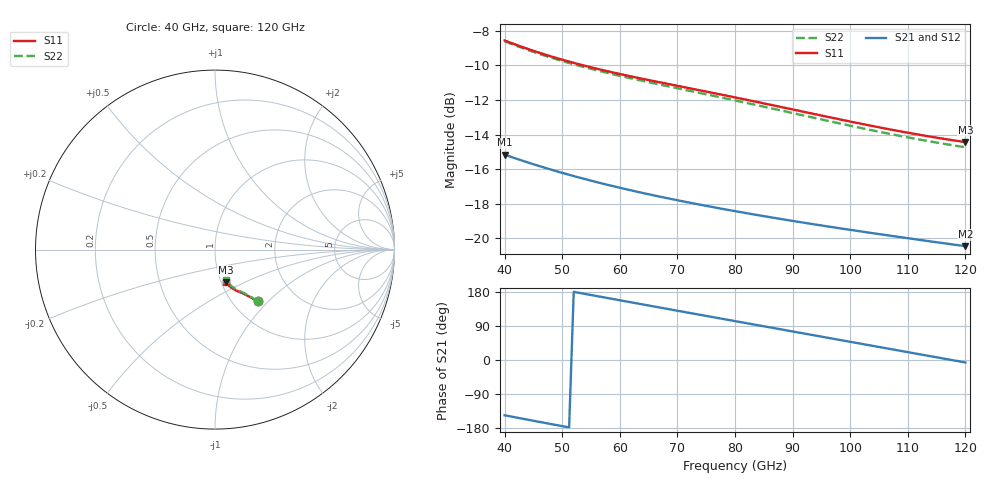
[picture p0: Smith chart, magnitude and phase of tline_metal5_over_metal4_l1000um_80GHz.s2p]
#  GHZ S DB R 50
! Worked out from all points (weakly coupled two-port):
!   101 points, 40 GHz to 120 GHz, reference 50 ohm
!   highest |S21| = -15.16 dB at 40 GHz (marker M1); lowest = -20.5 dB at 120 GHz (marker M2)
!   lowest |S11| = -14.4 dB at 120 GHz (marker M3), VSWR 1.47, Z = 52.6 - j19.7 ohm
!   |S11| at or under -10 dB: 53.73 GHz to end of sweep
!   |S22| runs from -14.7 to -8.6 dB; largest |S21 - S12| = 1.9e-13
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40  -8.55 -50.4  -15.16 -145.9  -15.16 -145.9  -8.60 -50.2
43.2  -8.95 -51.6  -15.53 -155.2  -15.53 -155.2  -9.00 -51.3
46.4  -9.30 -52.6  -15.86 -164.3  -15.86 -164.3  -9.37 -52.2
49.6  -9.63 -53.5  -16.18 -173.4  -16.18 -173.4  -9.70 -53.1
53.6  -9.99 -54.6  -16.55 175.4  -16.55 175.4  -10.08 -54.2
56.8  -10.25 -55.5  -16.82 166.5  -16.82 166.5  -10.35 -55.0
60.8  -10.55 -56.6  -17.14 155.4  -17.14 155.4  -10.66 -56.1
64  -10.78 -57.6  -17.38 146.6  -17.38 146.6  -10.90 -57.0
67.2  -10.99 -58.6  -17.61 137.8  -17.61 137.8  -11.12 -57.9
70.4  -11.21 -59.6  -17.83 129.0  -17.83 129.0  -11.35 -58.9
73.6  -11.42 -60.7  -18.04 120.2  -18.04 120.2  -11.57 -59.9
76.8  -11.63 -61.7  -18.24 111.4  -18.24 111.4  -11.80 -60.9
80  -11.85 -62.8  -18.43 102.7  -18.43 102.7  -12.02 -61.9
83.2  -12.07 -63.8  -18.62 93.9  -18.62 93.9  -12.26 -62.9
86.4  -12.29 -64.8  -18.80 85.1  -18.80 85.1  -12.49 -63.8
89.6  -12.52 -65.8  -18.98 76.4  -18.98 76.4  -12.73 -64.7
93.6  -12.80 -66.9  -19.19 65.5  -19.19 65.5  -13.02 -65.6
97.6  -13.08 -67.8  -19.40 54.6  -19.40 54.6  -13.31 -66.5
100.8  -13.30 -68.5  -19.56 45.8  -19.56 45.8  -13.54 -67.1
107.2  -13.72 -69.7  -19.87 28.4  -19.87 28.4  -13.98 -68.1
113.6  -14.10 -70.7  -20.17 10.9  -20.17 10.9  -14.38 -68.9
120  -14.44 -71.5  -20.46 -6.5  -20.46 -6.5  -14.74 -69.5
